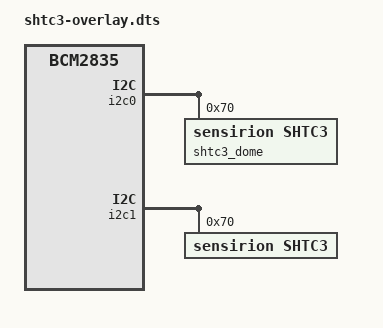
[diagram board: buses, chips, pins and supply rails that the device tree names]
/dts-v1/;
/plugin/;

/ {
    compatible = "brcm,bcm2835";

    fragment@0 {
        target = <&i2c0>;  // Example path for i2c1
       __overlay__ {
			#address-cells = <1>;
			#size-cells = <0>;
			status = "okay";


            shtc3_dome@70 {
                compatible = "sensirion,shtc3";
                reg = <0x70>;
                label = "shtc3_dome";
                status = "okay";
            };
        };
    };
	

    fragment@1 {
        target = <&i2c1>;  // Example path for i2c0
        __overlay__ {
            #address-cells = <1>;
			#size-cells = <0>;
			status = "okay";

            shtc3@70 {
                compatible = "sensirion,shtc3";
                reg = <0x70>;
                label = "shtc3";
                status = "okay";
            };
        };
    };
};
